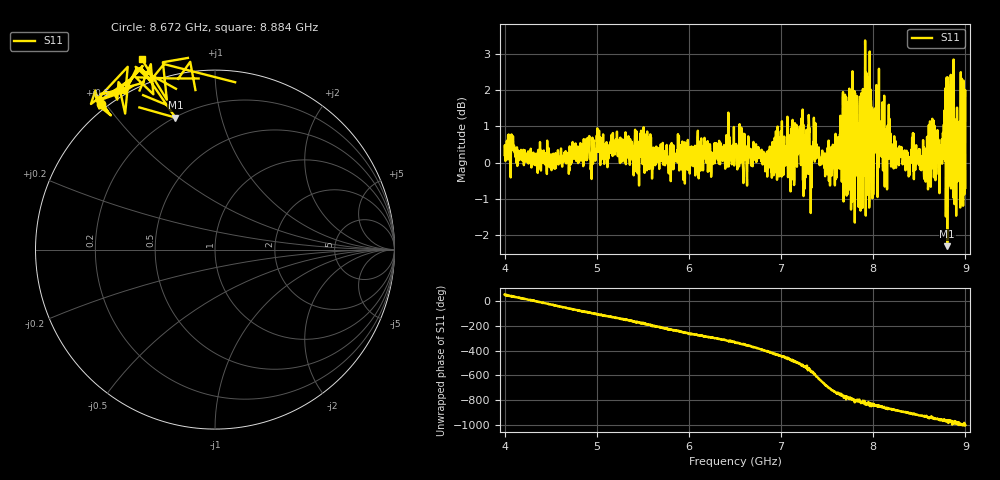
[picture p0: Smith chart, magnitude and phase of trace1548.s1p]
! Created with skrf 1.8.0 (http://scikit-rf.org).
# Hz S RI R 50.0
!freq ReS11 ImS11
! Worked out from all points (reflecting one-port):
!   1601 points, 4 GHz to 9 GHz, reference 50 ohm
!   lowest |S11| = -2.3 dB at 8.803 GHz (marker M1), VSWR 7.62, Z = 10.1 + j36.2 ohm
!   phase of S11 starts at 53 deg and turns -1055 deg over the sweep
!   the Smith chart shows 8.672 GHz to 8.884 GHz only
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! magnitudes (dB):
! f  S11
! 4 GHz  0.2
! 4.625 GHz  -0.1
! 5.25 GHz  0.0
! 5.875 GHz  0.4
! 6.5 GHz  0.2
! 6.875 GHz  0.1
! 7.125 GHz  1.2
! 7.209 GHz  0.3
! 7.262 GHz  0.7
! 7.284 GHz  -0.1
! 7.334 GHz  0.4
! 7.372 GHz  1.1
! 7.506 GHz  0.4
! 7.65 GHz  0.6
! 7.703 GHz  0.2
! 7.75 GHz  -0.7
! 7.775 GHz  2.5
! 7.8 GHz  -1.6
! 7.988 GHz  1.5
! 8.375 GHz  0.0
! 8.441 GHz  -0.5
! 8.575 GHz  -0.2
! 8.775 GHz  1.4
! 8.803 GHz  -2.3
! 8.853 GHz  0.6
! 8.919 GHz  -0.2
! 8.972 GHz  0.2
! 9 GHz  -0.7
